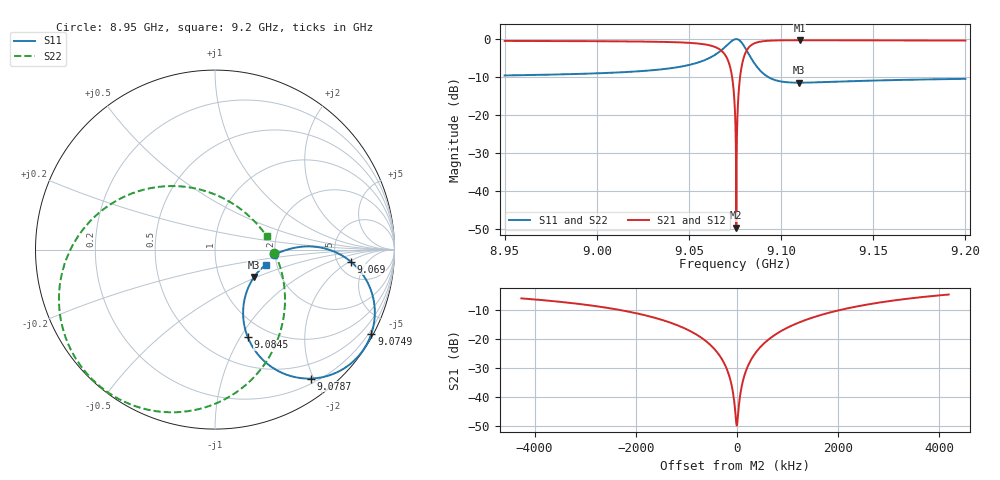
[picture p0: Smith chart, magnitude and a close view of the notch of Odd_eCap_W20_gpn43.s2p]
! Sonnet Data File
! From: emgraph Version : 16.52
! From Emgraph Data: Resonator2_extremeCap
! Data File Written: 10/12/2017 12:53:11
!< HDATE 10/11/2017 21:06:01
!< MDATE 10/11/2017 21:06:01
!< PARAMS
!< Pwid1 = 2000.0
!< Air_gap = 12.0
!< Width = 20.0
!< Gap = 43.0
!< END PARAMS
# GHZ S MA R 40.13000
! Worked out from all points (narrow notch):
!   1845 points, 8.95 GHz to 9.2 GHz, reference 40.13 ohm
!   highest |S21| = -0.32 dB at 9.11 GHz (marker M1); lowest = -49.7 dB at 9.0757 GHz (marker M2)
!   notch at M2: 49.1 dB deep, 712 kHz wide at half that depth
!   lowest |S11| = -11.5 dB at 9.1098 GHz (marker M3), VSWR 1.72, Z = 58.8 - j19.2 ohm
!   |S11| at or under -10 dB: 9.093 GHz to end of sweep
!   |S22| runs from -11.5 to 0.0 dB; largest |S21 - S12| = 0
!   S11 on the Smith chart (normalised r, x): 8.95 GHz: 1.98, -0.11; 9.069 GHz: 6.63, -2.08; 9.0749 GHz: 0.09, -3.96; 9.0787 GHz: 0.27, -1.96; 9.0845 GHz: 0.80, -1.08; 9.2 GHz: 1.76, -0.34
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8.95  0.331 -4.2  0.9436 -93.7  0.9436 -93.7  0.331 -3.1
!< P1 F=8.95 Eeff=(5.24886392 -2.3057e-5) Z0=(40.1292442 8.94105e-5) R=0.0 C=0.0
!< P2 F=8.95 Eeff=(5.24886392 -2.3057e-5) Z0=(40.1292442 8.94105e-5) R=0.0 C=0.0
8.9918  0.3478 -3.2  0.9376 -95.5  0.9376 -95.5  0.3477 -7.8
9.0334  0.3946 -0.4  0.9188 -99.9  0.9188 -99.9  0.3945 -19.3
9.056577  0.5051 2.0  0.8628 -108.8  0.8628 -108.8  0.5048 -39.7
9.068968  0.759 -5.0  0.6497 -129.9  0.6497 -129.9  0.7581 -75.1
9.072993  0.9297 -17.9  0.3634 -149.9  0.3634 -149.9  0.9283 -102.7
9.074863  0.9894 -28.3  0.1282 -163.4  0.1282 -163.4  0.9877 -121.3
9.075  0.9917 -29.2  0.1084 -164.4  0.1084 -164.4  0.9901 -122.8
9.075493  0.997 -32.4  0.0347 -165.1  0.0347 -165.1  0.9952 -128.4
9.07572  0.9975 -33.9  0.003276 -75.1  0.003276 -75.1  0.9957 -131.0
9.075942  0.9969 -35.5  0.03517 0.1  0.03517 0.1  0.9951 -133.6
9.076406  0.9916 -38.7  0.1083 -0.7  0.1083 -0.7  0.9897 -139.2
9.077205  0.9697 -44.2  0.2337 -7.3  0.2337 -7.3  0.9678 -148.8
9.078659  0.8943 -53.5  0.4423 -20.2  0.4423 -20.2  0.8924 -166.1
9.0812  0.7153 -64.8  0.6964 -39.0  0.6964 -39.0  0.7136 167.2
9.084529  0.5211 -69.5  0.8523 -54.8  0.8523 -54.8  0.5198 140.1
9.093214  0.3137 -57.8  0.9492 -72.6  0.9492 -72.6  0.313 92.6
9.109829  0.2659 -34.9  0.9639 -82.6  0.9639 -82.6  0.2656 49.6
9.11  0.2659 -34.7  0.9639 -82.7  0.9639 -82.7  0.2656 49.4
9.1168  0.2675 -30.0  0.9635 -84.5  0.9635 -84.5  0.2674 41.1
9.1584  0.2869 -19.5  0.958 -89.3  0.958 -89.3  0.2868 20.8
9.2  0.2988 -16.9  0.9543 -91.2  0.9543 -91.2  0.2988 14.4
